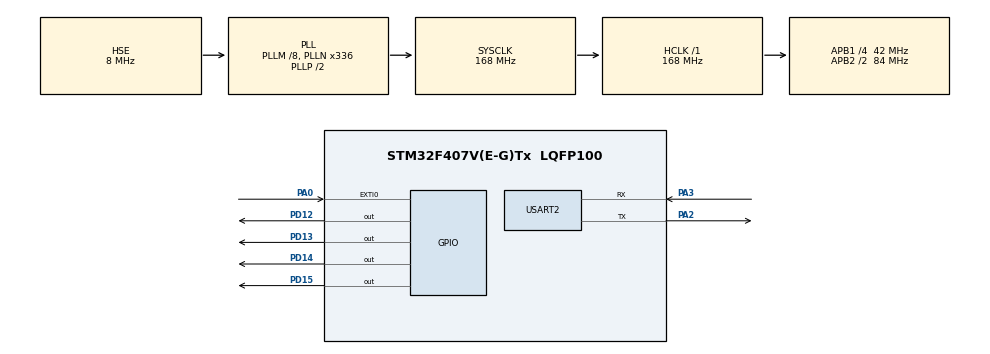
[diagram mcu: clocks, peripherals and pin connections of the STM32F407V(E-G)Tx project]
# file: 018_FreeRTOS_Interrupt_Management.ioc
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FREERTOS.Tasks01=defaultTask,24,128,StartDefaultTask,Default,NULL,Dynamic,NULL,NULL
FREERTOS.configUSE_NEWLIB_REENTRANT=1
Mcu.Family=STM32F4
Mcu.Name=STM32F407V(E-G)Tx
Mcu.Package=LQFP100
NVIC.EXTI0_IRQn=true\:5\:0\:false\:false\:true\:true\:true\:true\:true
NVIC.PriorityGroup=NVIC_PRIORITYGROUP_4
NVIC.TIM8_TRG_COM_TIM14_IRQn=true\:15\:0\:false\:false\:true\:false\:false\:true\:true
NVIC.TimeBase=TIM8_TRG_COM_TIM14_IRQn
NVIC.TimeBaseIP=TIM14
NVIC.USART2_IRQn=true\:5\:0\:false\:false\:true\:true\:true\:true\:true
PA0-WKUP.Signal=GPXTI0
PA2.Mode=Asynchronous
PA2.Signal=USART2_TX
PA3.Mode=Asynchronous
PA3.Signal=USART2_RX
PD12.Signal=GPIO_Output
PD13.Signal=GPIO_Output
PD14.Signal=GPIO_Output
PD15.Signal=GPIO_Output
PH0-OSC_IN.Mode=HSE-External-Oscillator
PH0-OSC_IN.Signal=RCC_OSC_IN
PH1-OSC_OUT.Mode=HSE-External-Oscillator
PH1-OSC_OUT.Signal=RCC_OSC_OUT
ProjectManager.HeapSize=0x200
ProjectManager.StackSize=0x400
ProjectManager.TargetToolchain=STM32CubeIDE
RCC.48MHZClocksFreq_Value=48000000
RCC.AHBFreq_Value=168000000
RCC.APB1CLKDivider=RCC_HCLK_DIV4
RCC.APB1Freq_Value=42000000
RCC.APB1TimFreq_Value=84000000
RCC.APB2CLKDivider=RCC_HCLK_DIV2
RCC.APB2Freq_Value=84000000
RCC.APB2TimFreq_Value=168000000
RCC.CortexFreq_Value=168000000
RCC.HCLKFreq_Value=168000000
RCC.HSE_VALUE=8000000
RCC.HSI_VALUE=16000000
RCC.LSE_VALUE=32768
RCC.PLLM=8
RCC.PLLN=336
RCC.PLLQ=7
RCC.PLLSourceVirtual=RCC_PLLSOURCE_HSE
RCC.SYSCLKFreq_VALUE=168000000
RCC.SYSCLKSource=RCC_SYSCLKSOURCE_PLLCLK
RCC.VCOOutputFreq_Value=336000000
USART2.VirtualMode=VM_ASYNC
VP_FREERTOS_VS_CMSIS_V2.Mode=CMSIS_V2
VP_SYS_VS_tim14.Mode=TIM14
board=STM32F407G-DISC1

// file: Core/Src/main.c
/* USER CODE BEGIN Header */
/**
  ******************************************************************************
  * @file           : main.c
  * @brief          : Main program body
  ******************************************************************************
  * @attention
  *
  * Copyright (c) 2023 STMicroelectronics.
  * All rights reserved.
  *
  * This software is licensed under terms that can be found in the LICENSE file
  * in the root directory of this software component.
  * If no LICENSE file comes with this software, it is provided AS-IS.
  *
  ******************************************************************************
  */
/* USER CODE END Header */
#include "main.h"
#include "cmsis_os.h"

/* USER CODE BEGIN Includes */
#include "FreeRTOS.h"
#include "task.h"
#include <stdio.h>
#include "semphr.h"
#include "timers.h"
/* USER CODE END Includes */

UART_HandleTypeDef huart2;

/* Definitions for defaultTask */

/* USER CODE BEGIN PV */
TaskHandle_t TaskPeriodicHandler = NULL;
TaskHandle_t TaskInterruptHandler = NULL;
SemaphoreHandle_t xBinarySemaphore;
/* USER CODE END PV */

void SystemClock_Config(void);
static void MX_GPIO_Init(void);
static void MX_USART2_UART_Init(void);

/* USER CODE BEGIN PFP */
void vPeriodicTask(void *pvParameters);
void vInterruptTriggeredTask(void *pvParameters);
/* USER CODE END PFP */

/* USER CODE BEGIN 0 */
void HAL_GPIO_EXTI_Callback(uint16_t GPIO_Pin)
{
	BaseType_t pxHigherPriorityTaskWoken = pdFALSE;
	xSemaphoreGiveFromISR(xBinarySemaphore, &pxHigherPriorityTaskWoken);
	portYIELD_FROM_ISR(pxHigherPriorityTaskWoken);
}
void vPeriodicTask(void *pvParameters)
{
	char buffer[50];
	int count = 0;
	const TickType_t xDelay250ms = pdMS_TO_TICKS(250);

	for(;;)
	{
		sprintf(buffer, "Periyodik 1 calisiyor %d \r\n", count++);
		HAL_UART_Transmit(&huart2, (uint8_t *)buffer, 50, 1000);
		HAL_GPIO_TogglePin(GPIOD, GPIO_PIN_12);
		vTaskDelay(xDelay250ms);
	}
}
void vInterruptTriggeredTask(void *pvParameters)
{
	const char *pcTaskName = "Butona Basildi! Kesme tetiklendi!\r\n";
	const TickType_t xMaxExpectedBlockTime = pdMS_TO_TICKS(500);

	for(;;)
	{
		if(xSemaphoreTake(xBinarySemaphore, xMaxExpectedBlockTime) == pdPASS)
		{
			HAL_UART_Transmit(&huart2, (uint8_t *)pcTaskName, 50, HAL_MAX_DELAY);
			HAL_GPIO_WritePin(GPIOD, GPIO_PIN_12, GPIO_PIN_RESET);
		}
		else
		{
			//HAL_UART_Transmit(&huart2, (uint8_t*) "Semaphore alinamadi!\r\n", 30, HAL_MAX_DELAY);
		}
	}
}
/* USER CODE END 0 */

int main(void)
{

  /* MCU Configuration--------------------------------------------------------*/

  /* Reset of all peripherals, Initializes the Flash interface and the Systick. */
  HAL_Init();

  /* Configure the system clock */
  SystemClock_Config();

  /* Initialize all configured peripherals */
  MX_GPIO_Init();
  MX_USART2_UART_Init();
  /* USER CODE BEGIN 2 */
  const char *pcTaskName = "FreeRTOS BASLADI!\r\n";
  HAL_UART_Transmit(&huart2, (uint8_t*)pcTaskName, 25, 1000);

  xBinarySemaphore = xSemaphoreCreateBinary();
  if(xBinarySemaphore != NULL)
  {
	  xTaskCreate(vPeriodicTask, "Periyodik", configMINIMAL_STACK_SIZE, NULL, 1, NULL);
	  xTaskCreate(vInterruptTriggeredTask, "Interrupt", configMINIMAL_STACK_SIZE, NULL, 3, NULL);
	  vTaskStartScheduler();
  }
  /* USER CODE END 2 */

  /* Init scheduler */

  /* Create the thread(s) */
  /* creation of defaultTask */

  /* Start scheduler */

  /* We should never get here as control is now taken by the scheduler */
  /* Infinite loop */
  while (1)
  {

  }
}

void SystemClock_Config(void)
{
  RCC_OscInitTypeDef RCC_OscInitStruct = {0};
  RCC_ClkInitTypeDef RCC_ClkInitStruct = {0};

  /** Configure the main internal regulator output voltage
  */
  __HAL_RCC_PWR_CLK_ENABLE();
  __HAL_PWR_VOLTAGESCALING_CONFIG(PWR_REGULATOR_VOLTAGE_SCALE1);

  /** Initializes the RCC Oscillators according to the specified parameters
  * in the RCC_OscInitTypeDef structure.
  */
  RCC_OscInitStruct.OscillatorType = RCC_OSCILLATORTYPE_HSE;
  RCC_OscInitStruct.HSEState = RCC_HSE_ON;
  RCC_OscInitStruct.PLL.PLLState = RCC_PLL_ON;
  RCC_OscInitStruct.PLL.PLLSource = RCC_PLLSOURCE_HSE;
  RCC_OscInitStruct.PLL.PLLM = 8;
  RCC_OscInitStruct.PLL.PLLN = 336;
  RCC_OscInitStruct.PLL.PLLP = RCC_PLLP_DIV2;
  RCC_OscInitStruct.PLL.PLLQ = 7;
  if (HAL_RCC_OscConfig(&RCC_OscInitStruct) != HAL_OK)
  {
    Error_Handler();
  }

  /** Initializes the CPU, AHB and APB buses clocks
  */
  RCC_ClkInitStruct.ClockType = RCC_CLOCKTYPE_HCLK|RCC_CLOCKTYPE_SYSCLK
                              |RCC_CLOCKTYPE_PCLK1|RCC_CLOCKTYPE_PCLK2;
  RCC_ClkInitStruct.SYSCLKSource = RCC_SYSCLKSOURCE_PLLCLK;
  RCC_ClkInitStruct.AHBCLKDivider = RCC_SYSCLK_DIV1;
  RCC_ClkInitStruct.APB1CLKDivider = RCC_HCLK_DIV4;
  RCC_ClkInitStruct.APB2CLKDivider = RCC_HCLK_DIV2;

  if (HAL_RCC_ClockConfig(&RCC_ClkInitStruct, FLASH_LATENCY_5) != HAL_OK)
  {
    Error_Handler();
  }
}

static void MX_USART2_UART_Init(void)
{

  huart2.Instance = USART2;
  huart2.Init.BaudRate = 115200;
  huart2.Init.WordLength = UART_WORDLENGTH_8B;
  huart2.Init.StopBits = UART_STOPBITS_1;
  huart2.Init.Parity = UART_PARITY_NONE;
  huart2.Init.Mode = UART_MODE_TX_RX;
  huart2.Init.HwFlowCtl = UART_HWCONTROL_NONE;
  huart2.Init.OverSampling = UART_OVERSAMPLING_16;
  if (HAL_UART_Init(&huart2) != HAL_OK)
  {
    Error_Handler();
  }

}

static void MX_GPIO_Init(void)
{
  GPIO_InitTypeDef GPIO_InitStruct = {0};

  /* GPIO Ports Clock Enable */
  __HAL_RCC_GPIOH_CLK_ENABLE();
  __HAL_RCC_GPIOA_CLK_ENABLE();
  __HAL_RCC_GPIOD_CLK_ENABLE();

  /*Configure GPIO pin Output Level */
  HAL_GPIO_WritePin(GPIOD, GPIO_PIN_12|GPIO_PIN_13|GPIO_PIN_14|GPIO_PIN_15, GPIO_PIN_RESET);

  /*Configure GPIO pin : PA0 */
  GPIO_InitStruct.Pin = GPIO_PIN_0;
  GPIO_InitStruct.Mode = GPIO_MODE_IT_RISING;
  GPIO_InitStruct.Pull = GPIO_NOPULL;
  HAL_GPIO_Init(GPIOA, &GPIO_InitStruct);

  /*Configure GPIO pins : PD12 PD13 PD14 PD15 */
  GPIO_InitStruct.Pin = GPIO_PIN_12|GPIO_PIN_13|GPIO_PIN_14|GPIO_PIN_15;
  GPIO_InitStruct.Mode = GPIO_MODE_OUTPUT_PP;
  GPIO_InitStruct.Pull = GPIO_NOPULL;
  GPIO_InitStruct.Speed = GPIO_SPEED_FREQ_LOW;
  HAL_GPIO_Init(GPIOD, &GPIO_InitStruct);

  /* EXTI interrupt init*/
  HAL_NVIC_SetPriority(EXTI0_IRQn, 5, 0);
  HAL_NVIC_EnableIRQ(EXTI0_IRQn);

}

void HAL_TIM_PeriodElapsedCallback(TIM_HandleTypeDef *htim)
{
  if (htim->Instance == TIM14) {
    HAL_IncTick();
  }
}

void Error_Handler(void)
{
  __disable_irq();
  while (1)
  {
  }
}
